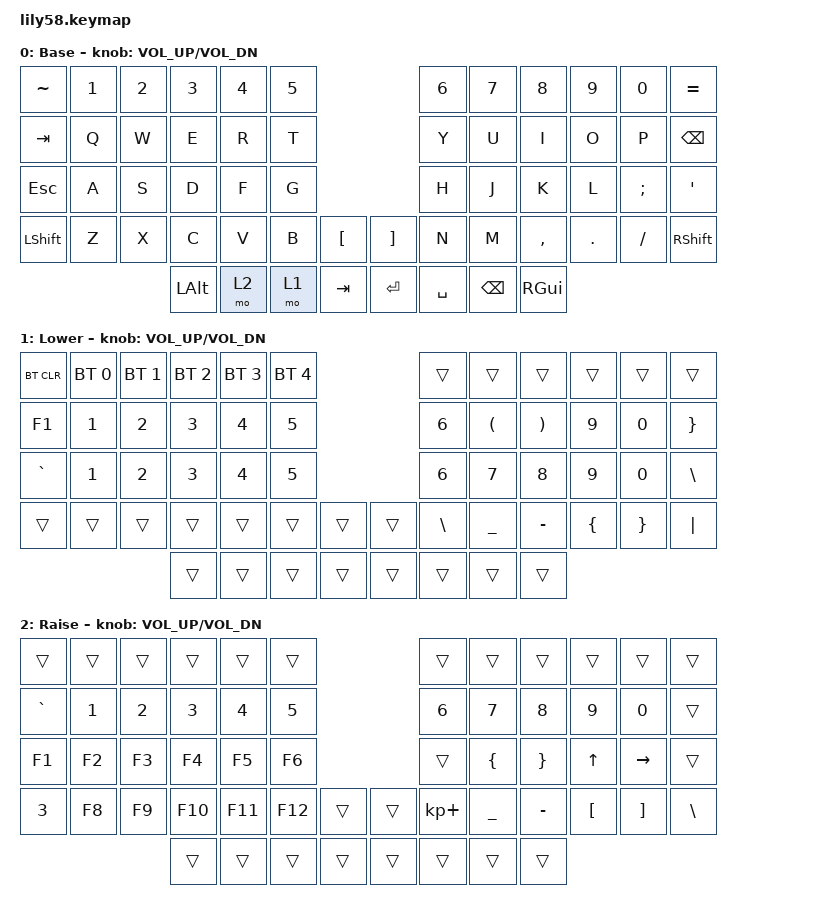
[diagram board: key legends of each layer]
/*
 * Copyright (c) 2020 The ZMK Contributors
 *
 * SPDX-License-Identifier: MIT
 */

#include <behaviors.dtsi>
#include <dt-bindings/zmk/bt.h>
#include <dt-bindings/zmk/keys.h>

/ {
    keymap {
        compatible = "zmk,keymap";

        default_layer {
            // ------------------------------------------------------------------------------------------------------------
            // |  ESC  |  1  |  2  |  3   |  4   |  5   |                   |  6   |  7    |  8    |  9   |   0   |   `   |
            // |  TAB  |  Q  |  W  |  E   |  R   |  T   |                   |  Y   |  U    |  I    |  O   |   P   |   -   |
            // |  CTRL |  A  |  S  |  D   |  F   |  G   |                   |  H   |  J    |  K    |  L   |   ;   |   '   |
            // | SHIFT |  Z  |  X  |  C   |  V   |  B   |   "["  |  |  "]"  |  N   |  M    |  ,    |  .   |   /   | SHIFT |
            //                     | ALT  | GUI  | LOWER|  SPACE |  | ENTER | RAISE| BSPC  | GUI   |

            display-name = "Base";
            bindings = <
&kp TILDE   &kp N1  &kp N2  &kp N3    &kp N4  &kp N5                        &kp N6     &kp N7    &kp N8     &kp N9   &kp N0    &kp EQUAL
&kp TAB     &kp Q   &kp W   &kp E     &kp R   &kp T                         &kp Y      &kp U     &kp I      &kp O    &kp P     &kp BACKSPACE
&kp ESCAPE  &kp A   &kp S   &kp D     &kp F   &kp G                         &kp H      &kp J     &kp K      &kp L    &kp SEMI  &kp SQT
&kp LSHFT   &kp Z   &kp X   &kp C     &kp V   &kp B   &kp LBKT    &kp RBKT  &kp N      &kp M     &kp COMMA  &kp DOT  &kp FSLH  &kp RSHFT
                            &kp LALT  &mo 2   &mo 1   &kp TAB     &kp RET   &kp SPACE  &kp BSPC  &kp RGUI
            >;

            sensor-bindings = <&inc_dec_kp C_VOL_UP C_VOL_DN>;
        };

        lower_layer {
            // ------------------------------------------------------------------------------------------------------------
            // | BTCLR | BT1 | BT2 |  BT3 |  BT4 |  BT5 |                   |      |       |       |      |       |       |
            // |  F1   |  F2 |  F3 |  F4  |  F5  |  F6  |                   |  F7  |  F8   |  F9   |  F10 |  F11  |  F12  |
            // |   `   |  !  |  @  |  #   |  $   |  %   |                   |  ^   |  &    |  *    |  (   |   )   |   ~   |
            // |       |     |     |      |      |      |        |  |       |      |  _    |  +    |  {   |   }   |  "|"  |
            //                     |      |      |      |        |  |       |      |       |       |

            display-name = "Lower";
            bindings = <
&bt BT_CLR  &bt BT_SEL 0  &bt BT_SEL 1  &bt BT_SEL 2  &bt BT_SEL 3  &bt BT_SEL 4                    &trans         &trans                &trans                 &trans        &trans        &trans
&kp F1      &kp NUMBER_1  &kp NUMBER_2  &kp NUMBER_3  &kp NUMBER_4  &kp N5                          &kp NUMBER_6   &kp LEFT_PARENTHESIS  &kp RIGHT_PARENTHESIS  &kp NUMBER_9  &kp NUMBER_0  &kp RIGHT_BRACE
&kp GRAVE   &kp NUMBER_1  &kp NUMBER_2  &kp NUMBER_3  &kp NUMBER_4  &kp N5                          &kp NUMBER_6   &kp NUMBER_7          &kp NUMBER_8           &kp NUMBER_9  &kp NUMBER_0  &kp BACKSLASH
&trans      &trans        &trans        &trans        &trans        &trans        &trans    &trans  &kp BACKSLASH  &kp UNDER             &kp MINUS              &kp LBRC      &kp RBRC      &kp PIPE
                                        &trans        &trans        &trans        &trans    &trans  &trans         &trans                &trans
            >;

            sensor-bindings = <&inc_dec_kp C_VOL_UP C_VOL_DN>;
        };

        raise_layer {
            // ------------------------------------------------------------------------------------------------------------
            // |       |     |     |      |      |      |                   |      |       |       |      |       |       |
            // |   `   |  1  |  2  |  3   |  4   |  5   |                   |  6   |   7   |   8   |  9   |   0   |       |
            // |   F1  |  F2 |  F3 |  F4  |  F5  |  F6  |                   |      |   <-  |   v   |  ^   |  ->   |       |
            // |   F7  |  F8 |  F9 |  F10 |  F11 |  F12 |        |  |       |  +   |   -   |   =   |  [   |   ]   |   \   |
            //                     |      |      |      |        |  |       |      |       |       |

            display-name = "Raise";
            bindings = <
&trans        &trans  &trans  &trans   &trans   &trans                     &trans       &trans          &trans           &trans    &trans     &trans
&kp GRAVE     &kp N1  &kp N2  &kp N3   &kp N4   &kp N5                     &kp N6       &kp N7          &kp N8           &kp N9    &kp N0     &trans
&kp F1        &kp F2  &kp F3  &kp F4   &kp F5   &kp F6                     &trans       &kp LEFT_BRACE  &kp RIGHT_BRACE  &kp UP    &kp RIGHT  &trans
&kp NUMBER_3  &kp F8  &kp F9  &kp F10  &kp F11  &kp F12  &trans    &trans  &kp KP_PLUS  &kp UNDERSCORE  &kp MINUS        &kp LBKT  &kp RBKT   &kp BSLH
                              &trans   &trans   &trans   &trans    &trans  &trans       &trans          &trans
            >;

            sensor-bindings = <&inc_dec_kp C_VOL_UP C_VOL_DN>;
        };
    };
};
